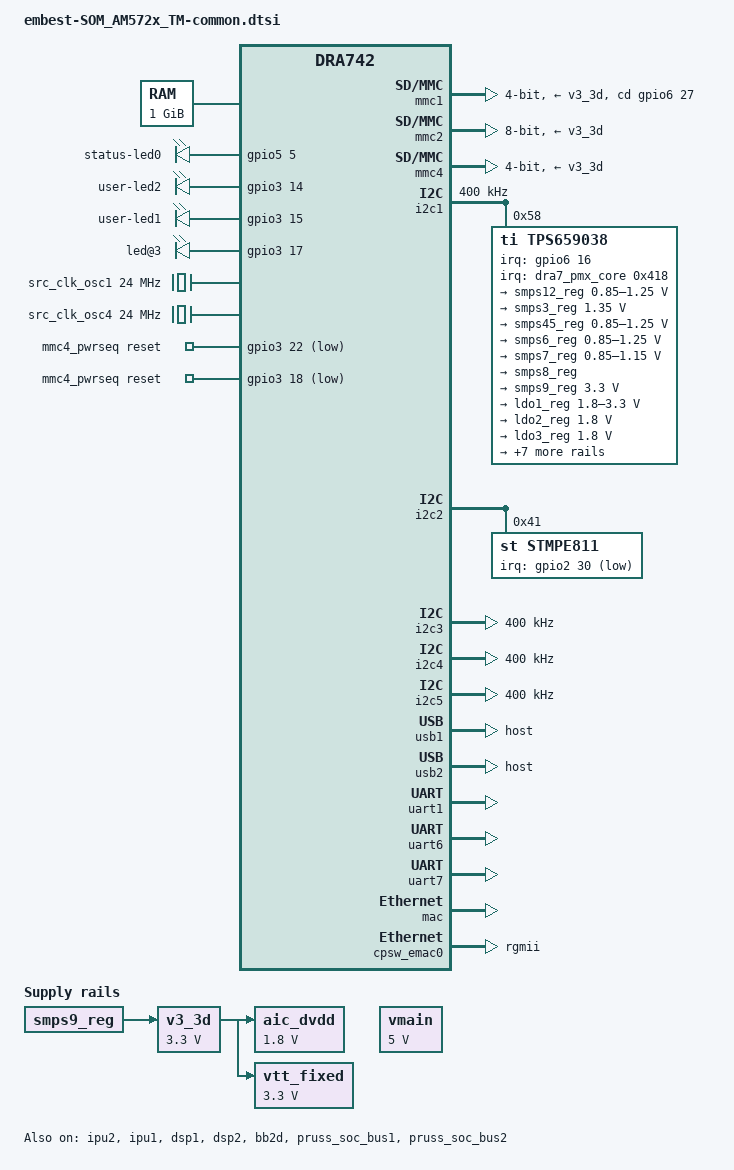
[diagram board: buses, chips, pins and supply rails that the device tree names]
/*
 * Copyright (C) 2017-2017 Embest - http://www.embest-tech.com/
 *
 * This program is free software; you can redistribute it and/or modify
 * it under the terms of the GNU General Public License version 2 as
 * published by the Free Software Foundation.
 */
/dts-v1/;

#include "dra74x.dtsi"
#include <dt-bindings/gpio/gpio.h>
#include <dt-bindings/interrupt-controller/irq.h>
#include "am57xx-industrial-grade.dtsi"

/ {
	compatible = "ti,am572x-beagle-x15", "ti,am5728", "ti,dra742", "ti,dra74", "ti,dra7";

	chosen {
		stdout-path = &uart1;
	};

	memory@0 {
		device_type = "memory";
		reg = <0x0 0x80000000 0x0 0x40000000>;		/*** Is size 2G? */
	};

       reserved-memory {
                #address-cells = <2>;
                #size-cells = <2>;
                ranges;

                ipu2_cma_pool: ipu2_cma@95800000 {
                        compatible = "shared-dma-pool";
                        reg = <0x0 0x95800000 0x0 0x3800000>;
                        reusable;
                        status = "okay";
                };

                dsp1_cma_pool: dsp1_cma@99000000 {
                        compatible = "shared-dma-pool";
                        reg = <0x0 0x99000000 0x0 0x4000000>;
                        reusable;
                        status = "okay";
                };

                ipu1_cma_pool: ipu1_cma@9d000000 {
                        compatible = "shared-dma-pool";
                        reg = <0x0 0x9d000000 0x0 0x2000000>;
                        reusable;
                        status = "okay";
                };

                dsp2_cma_pool: dsp2_cma@9f000000 {
                        compatible = "shared-dma-pool";
                        reg = <0x0 0x9f000000 0x0 0x800000>;
                        reusable;
                        status = "okay";
                };

                cmem_block_mem_0: cmem_block_mem@a0000000 {
                        reg = <0x0 0xa0000000 0x0 0x0c000000>;
                        no-map;
                        status = "okay";
                };
               
               cmem_block_mem_1_ocmc3: cmem_block_mem@40500000 {
                        reg = <0x0 0x40500000 0x0 0x100000>;
                        no-map;
                        status = "okay";
                };
        };

	leds {
		pinctrl-names = "default";
		pinctrl-0 = <&leds_pins_default>;
		compatible = "gpio-leds";
		led@0 {
			label = "status-led0";
			gpios = <&gpio5 5 GPIO_ACTIVE_HIGH>;
			linux,default-trigger = "heartbeat";
			default-state = "off";
		};

		led@1 {
			label = "user-led2";
			gpios = <&gpio3 14 GPIO_ACTIVE_HIGH>;
			default-state = "off";
		};

		led@2 {
			label = "user-led1";
			gpios = <&gpio3 15 GPIO_ACTIVE_HIGH>;
			default-state = "off";
		};

		led@3 {
			lable = "user-led0";
			gpios = <&gpio3 17 GPIO_ACTIVE_HIGH>;
			default-state = "off";	
		};
 	};

	vmain: fixedregulator-vmain {
		compatible = "regulator-fixed";
		regulator-name = "VMAIN";
		regulator-min-microvolt = <5000000>;
		regulator-max-microvolt = <5000000>;
		regulator-always-on;
		regulator-boot-on;
	};

	v3_3d: fixedregulator-v3_3d {
		compatible = "regulator-fixed";
		regulator-name = "V3_3D";
		vin-supply = <&smps9_reg>;
		regulator-min-microvolt = <3300000>;
		regulator-max-microvolt = <3300000>;
		regulator-always-on;
		regulator-boot-on;
	};

	aic_dvdd: fixedregulator-aic_dvdd {
		compatible = "regulator-fixed";
		regulator-name = "aic_dvdd_fixed";
		vin-supply = <&v3_3d>;
		regulator-min-microvolt = <1800000>;
		regulator-max-microvolt = <1800000>;
		regulator-always-on;
                regulator-boot-on;

	};

	vtt_fixed: fixedregulator-vtt {
		/* TPS51200 */
		compatible = "regulator-fixed";
		regulator-name = "vtt_fixed";
		vin-supply = <&v3_3d>;
		regulator-min-microvolt = <3300000>;
		regulator-max-microvolt = <3300000>;
		regulator-always-on;
		regulator-boot-on;
	};

	src_clk_x1: src_clk_x1 {
		#clock-cells = <0>;
		compatible = "fixed-clock";
		clock-frequency = <20000000>;
	};

	src_clk_osc1: src_clk_osc1 {
        	#clock-cells = <0>;
        	compatible = "fixed-clock";
        	clock-frequency = <24000000>;
    	};
    
	src_clk_osc4: src_clk_osc4 {
        	#clock-cells = <0>;
        	compatible = "fixed-clock";
        	clock-frequency = <24000000>;
    	};

	mmc4_pwrseq: mmc4_pwrseq {
		compatible = "mmc-pwrseq-simple";
		pinctrl-names = "default";
		pinctrl-0 = <&mmc4_pwrseq_pins_default>;		
		reset-gpios = <&gpio3 22 GPIO_ACTIVE_LOW>,     // BT-REG-ON
				<&gpio3 18 GPIO_ACTIVE_LOW>;   // WL-REG-ON
	};

};

&cpu0 {
	vdd-supply = <&smps12_reg>;
};

&mmc1 {
	status = "okay";
	vmmc-supply = <&v3_3d>;
	vmmc_aux-supply = <&ldo1_reg>;
	bus-width = <4>;
	cd-gpios = <&gpio6 27 0>; /* gpio 219 */

	pinctrl-names = "default", "hs", "sdr12", "sdr25", "sdr50", "ddr50", "sdr104";
	pinctrl-0 = <&mmc1_pins_default>;
	pinctrl-1 = <&mmc1_pins_hs>;
	pinctrl-2 = <&mmc1_pins_sdr12>;
	pinctrl-3 = <&mmc1_pins_sdr25>;
	pinctrl-4 = <&mmc1_pins_sdr50>;
	pinctrl-5 = <&mmc1_pins_ddr50 &mmc1_iodelay_ddr50_conf>;
	pinctrl-6 = <&mmc1_pins_sdr104 &mmc1_iodelay_sdr104_conf>;
	max-frequency = <24000000>;
};

&mmc2 {
	status = "okay";
	vmmc-supply = <&v3_3d>;
	bus-width = <8>;
	ti,non-removable;
	max-frequency = <96000000>;
	no-1-8-v;
	/delete-property/ mmc-hs200-1_8v;

	pinctrl-names = "default", "hs", "ddr_1_8v";
	pinctrl-0 = <&mmc2_pins_default>;
	pinctrl-1 = <&mmc2_pins_hs>;
	pinctrl-2 = <&mmc2_pins_ddr_1_8v &mmc2_iodelay_ddr_1_8v_conf>;
};

&mmc4 {
	status = "okay";
	bus-width = <4>;
	vmmc-supply = <&v3_3d>;
	cap-power-off-card;
	keep-power-in-suspend;
	ti,non-removable;	
	//vmmc_aux-supply = <&ldo1_reg>;
	max-frequency = <24000000>;
	pinctrl-names = "default", "hs", "sdr12", "sdr25", "sdr50";
	pinctrl-0 = <&mmc4_pins_default>;
	pinctrl-1 = <&mmc4_pins_hs>;
	pinctrl-2 = <&mmc4_pins_sdr12>;
	pinctrl-3 = <&mmc4_pins_sdr25>;
	pinctrl-4 = <&mmc4_pins_sdr50>;
	#address-cells = <1>;
	#size-cells = <0>;
	mmc-pwrseq = <&mmc4_pwrseq>;
};

&ipu2 {
        status = "okay";
        memory-region = <&ipu2_cma_pool>;
        mboxes = <&mailbox6 &mbox_ipu2_ipc3x>;
        timers = <&timer3>;
        watchdog-timers = <&timer4>,<&timer9>;
};

&ipu1 {
        status = "okay";
        memory-region = <&ipu1_cma_pool>;
        mboxes = <&mailbox5 &mbox_ipu1_ipc3x>;
        timers = <&timer11>;
        watchdog-timers = <&timer7>,<&timer8>;
};

&dsp1 {
        status = "okay";
        memory-region = <&dsp1_cma_pool>;
        mboxes = <&mailbox5 &mbox_dsp1_ipc3x>;
        timers = <&timer5>;
        watchdog-timers = <&timer10>;
};

&dsp2 {
        status = "okay";
        memory-region = <&dsp2_cma_pool>;
        mboxes = <&mailbox6 &mbox_dsp2_ipc3x>;
        timers = <&timer6>;
        watchdog-timers = <&timer13>;
};

&mailbox5 {
        status = "okay";
        mbox_ipu1_ipc3x: mbox_ipu1_ipc3x {
                status = "okay";
        };
        mbox_dsp1_ipc3x: mbox_dsp1_ipc3x {
                status = "okay";
        };
};

&mailbox6 {
        status = "okay";
        mbox_ipu2_ipc3x: mbox_ipu2_ipc3x {
                status = "okay";
        };
        mbox_dsp2_ipc3x: mbox_dsp2_ipc3x {
                status = "okay";
        };
};

&mmu0_dsp1 {
        status = "okay";
};

&mmu1_dsp1 {
        status = "okay";
};

&mmu0_dsp2 {
        status = "okay";
};

&mmu1_dsp2 {
        status = "okay";
};

&mmu_ipu1 {
        status = "okay";
};

&mmu_ipu2 {
        status = "okay";
};

&i2c1 {
	status = "okay";
	clock-frequency = <400000>;

	tps659038: tps659038@58 {
		compatible = "ti,tps659038";
		reg = <0x58>;
		interrupts-extended = <&gpio6 16 IRQ_TYPE_LEVEL_HIGH
			       &dra7_pmx_core 0x418>;
		#interrupt-cells = <2>;
		interrupt-controller;
		ti,system-power-controller;
		ti,palmas-override-powerhold;

		tps659038_pmic {
			compatible = "ti,tps659038-pmic";

			smps12-in-supply = <&vmain>;
			smps3-in-supply = <&vmain>;
			smps45-in-supply = <&vmain>;
			smps6-in-supply = <&vmain>;
			smps7-in-supply = <&vmain>;
			mps3-in-supply = <&vmain>;
			smps8-in-supply = <&vmain>;
			smps9-in-supply = <&vmain>;
			ldo1-in-supply = <&vmain>;
			ldo2-in-supply = <&vmain>;
			ldo3-in-supply = <&vmain>;
			ldo4-in-supply = <&vmain>;
			ldo9-in-supply = <&vmain>;
			ldoln-in-supply = <&vmain>;
			ldousb-in-supply = <&vmain>;
			ldortc-in-supply = <&vmain>;

			regulators {
				smps12_reg: smps12 {
					/* VDD_MPU */
					regulator-name = "smps12";
					regulator-min-microvolt = <850000>;
					regulator-max-microvolt = <1250000>;
					regulator-always-on;
					regulator-boot-on;
				};

				smps3_reg: smps3 {
					/* VDD_DDR EMIF1 EMIF2 */
					regulator-name = "smps3";
					regulator-min-microvolt = <1350000>;
					regulator-max-microvolt = <1350000>;
					regulator-always-on;
					regulator-boot-on;
				};

				smps45_reg: smps45 {
					/* VDD_DSPEVE on AM572 */
					/* VDD_IVA + VDD_DSP on AM571 */
					regulator-name = "smps45";
					regulator-min-microvolt = <850000>;
					regulator-max-microvolt = <1250000>;
					regulator-always-on;
					regulator-boot-on;
				};

				smps6_reg: smps6 {
					/* VDD_GPU */
					regulator-name = "smps6";
					regulator-min-microvolt = <850000>;
					regulator-max-microvolt = <1250000>;
					regulator-always-on;
					regulator-boot-on;
				};

				smps7_reg: smps7 {
					/* VDD_CORE */
					regulator-name = "smps7";
					regulator-min-microvolt = <850000>;	/*** 1.15V */
					regulator-max-microvolt = <1150000>;
					regulator-always-on;
					regulator-boot-on;
				};

				smps8_reg: smps8 {
					/* 5728 - VDD_IVAHD */			/*** 1.06V */
					/* 5718 - N.C. test point */
					regulator-name = "smps8";
				};

				smps9_reg: smps9 {
					/* VDD_3_3D */
					regulator-name = "smps9";
					regulator-min-microvolt = <3300000>;
					regulator-max-microvolt = <3300000>;
					regulator-always-on;
					regulator-boot-on;
				};

				ldo1_reg: ldo1 {
					/* VDDSHV8 - VSDMMC  */
					/* NOTE: on rev 1.3a, data supply */
					regulator-name = "ldo1";
					regulator-min-microvolt = <1800000>;
					regulator-max-microvolt = <3300000>;
					regulator-boot-on;
					regulator-always-on;
				};

				ldo2_reg: ldo2 {
					/* VDDSH18V */
					regulator-name = "ldo2";
					regulator-min-microvolt = <1800000>;
					regulator-max-microvolt = <1800000>;
					regulator-always-on;
					regulator-boot-on;
				};

				ldo3_reg: ldo3 {
					/* R1.3a 572x V1_8PHY_LDO3: USB, SATA */
					regulator-name = "ldo3";
					regulator-min-microvolt = <1800000>;
					regulator-max-microvolt = <1800000>;
					regulator-always-on;
					regulator-boot-on;
				};

				ldo4_reg: ldo4 {
					/* R1.3a 572x V1_8PHY_LDO4: PCIE, HDMI*/
					regulator-name = "ldo4";
					regulator-min-microvolt = <1800000>;
					regulator-max-microvolt = <1800000>;
					regulator-always-on;
					regulator-boot-on;
				};

				/* LDO5-8 unused */

				ldo9_reg: ldo9 {
					/* VDD_RTC  */
					regulator-name = "ldo9";
					regulator-min-microvolt = <840000>;
					regulator-max-microvolt = <1160000>;
					regulator-always-on;
					regulator-boot-on;
				};

				ldoln_reg: ldoln {
					/* VDDA_1V8_PLL */
					regulator-name = "ldoln";
					regulator-min-microvolt = <1800000>;
					regulator-max-microvolt = <1800000>;
					regulator-always-on;
					regulator-boot-on;
				};

				ldousb_reg: ldousb {
					/* VDDA_3V_USB: VDDA_USBHS33 */
					regulator-name = "ldousb";
					regulator-min-microvolt = <3300000>;
					regulator-max-microvolt = <3300000>;
					regulator-always-on;
					regulator-boot-on;
				};

				ldortc_reg: ldortc {
					/* VDDA_RTC  */
					regulator-name = "ldortc";
					regulator-min-microvolt = <1800000>;
					regulator-max-microvolt = <1800000>;
					regulator-always-on;
					regulator-boot-on;
				};

				regen1: regen1 {
					/* VDD_3V3_ON */
					regulator-name = "regen1";
					regulator-boot-on;
					regulator-always-on;
				};

				regen2: regen2 {
					/* Needed for PMIC internal resource */
					regulator-name = "regen2";
					regulator-boot-on;
					regulator-always-on;
				};
			};
		};
/*** need to modify in i2c1 */
		tps659038_rtc: tps659038_rtc {
			compatible = "ti,palmas-rtc";
			interrupt-parent = <&tps659038>;
			interrupts = <8 IRQ_TYPE_EDGE_FALLING>;
			wakeup-source;
		};

		tps659038_pwr_button: tps659038_pwr_button {
			compatible = "ti,palmas-pwrbutton";
			interrupt-parent = <&tps659038>;
			interrupts = <1 IRQ_TYPE_EDGE_FALLING>;
			wakeup-source;
			ti,palmas-long-press-seconds = <12>;
		};

		tps659038_gpio: tps659038_gpio {
			compatible = "ti,palmas-gpio";
			gpio-controller;
			#gpio-cells = <2>;
		};

		extcon_usb2: tps659038_usb {
			compatible = "ti,palmas-usb-vid";
			ti,enable-vbus-detection;
			ti,enable-id-detection;
			/* ID & VBUS GPIOs provided in board dts */
		};
	};

	tc358778: tc358778@0e {
		compatible = "toshiba,tc358778", "toshiba,tc358768";
		reg = <0x0e>;
		status = "disabled";

		clocks = <&src_clk_x1>;
		clock-names = "refclk";

		ports {
			#address-cells = <1>;
			#size-cells = <0>;

			port@0 {
				reg = <0>;
				tc358778_in: endpoint {
				/*	remote-endpoint = <&dpi_out>;
					data-lines = <24>; */
				};
			};

			port@1 {
				reg = <1>;
				tc358778_out: endpoint {
					/*
					 * lanes and remote-endpoint defined per
					 * panel.
					 */
				};
			};
		};
	};
};

&i2c2 {
	status = "okay";
	clcok-frequency = <40000>;
	pinctl-names = "default";
	pinctl-0 = <&i2c2_pins>;

	stmpe811@41 {
                compatible = "st,stmpe811";
                reg = <0x41>;
		pinctrl-names = "default";
		pinctrl-0 = <&stmpe_pins>;
//		interrupts = <30 IRQ_TYPE_LEVEL_LOW>;
//		interrupt-parent = <&gpio2>;
//		interrupt-controller;
		irq-gpio = <&gpio2 30 0x3>;
        };

};

&i2c3 {
	/*** designed for I2C touch Interface*/
	status = "okay";
	clock-frequency = <400000>;
	pinctrl-names = "default";
	pinctrl-0 = <&i2c3_pins>;
};

&i2c4 {
	status = "okay";
	clock-frequency = <400000>;
	pinctrl-names = "default";
	pinctrl-0 = <&i2c4_pins>;
};


&i2c5 {
	status = "okay";
	clock-frequency = <400000>;
	pinctrl-names = "default";
	pinctrl-0 = <&i2c5_pins>;

};

&usb2_phy1 {
	phy-supply = <&ldousb_reg>;
};

&usb2_phy2 {
	phy-supply = <&ldousb_reg>;
};

&usb1 {
	dr_mode = "host";
};

&usb2 {
	/*
	 * Stand alone usage is peripheral only.
	 * However, with some resistor modifications
	 * this port can be used via expansion connectors
	 * as "host" or "dual-role". If so, provide
	 * the necessary dr_mode override in the expansion
	 * board's DT.
	 */
	dr_mode = "host";
};

&uart1 {
	status = "okay";
	pinctrl-names = "default";
	pinctrl-0 = <&uart1_pins>;
};

&uart6 {/* for WIFI-BT */
        pinctrl-names = "default";
        pinctrl-0 = <&uart6_pins>;
        status = "okay";
};

&uart7 {/* for WIFI-BT */
	pinctrl-names = "default";
	pinctrl-0 = <&uart7_pins>;
	status = "okay";
};

&mac {
	status = "okay";
//	dual_emac;
};

&cpsw_emac0 {
	phy_id = <&davinci_mdio>, <4>;
	phy-mode = "rgmii";
//	dual_emac_res_vlan = <1>;
};

//&cpsw_emac1 {
//	phy_id = <&davinci_mdio>, <6>;
//	phy-mode = "rgmii";
//	dual_emac_res_vlan = <2>;
//};

&bb2d {
	status = "okay";
};

&mailbox3 {
	status = "okay";
	mbox_pru1_0: mbox_pru1_0 {
		status = "okay";
	};
	mbox_pru1_1: mbox_pru1_1 {
		status = "okay";
	};
};

&mailbox4 {
	status = "okay";
	mbox_pru2_0: mbox_pru2_0 {
		status = "okay";
	};
	mbox_pru2_1: mbox_pru2_1 {
		status = "okay";
	};
};

&pruss_soc_bus1 {
	status = "okay";

	pruss1: pruss@4b200000 {
		status = "okay";

		pru1_0: pru@4b234000 {
			interrupt-parent = <&pruss1_intc>;
			interrupts = <16>, <17>;
			interrupt-names = "vring", "kick";
			status = "okay";
		};

		pru1_1: pru@4b238000 {
			interrupt-parent = <&pruss1_intc>;
			interrupts = <18>, <19>;
			interrupt-names = "vring", "kick";
			status = "okay";
		};
	};
};

&pruss_soc_bus2 {
	status = "okay";

	pruss2: pruss@4b280000 {
		status = "okay";

		pru2_0: pru@4b2b4000 {
			interrupt-parent = <&pruss2_intc>;
			interrupts = <16>, <17>;
			interrupt-names = "vring", "kick";
			status = "okay";
		};

		pru2_1: pru@4b2b8000 {
			interrupt-parent = <&pruss2_intc>;
			interrupts = <18>, <19>;
			interrupt-names = "vring", "kick";
			status = "okay";
		};
	};
};

&dra7_pmx_core {
	
	stmpe_pins: stmpe_pins {
		pinctrl-single,pins = <	
			DRA7XX_CORE_IOPAD(0x34dc, (PIN_INPUT | MUX_MODE14)) /* vin1a.clk0_gpio2_30 (AG8) */
		>;
	};

	ehrpwm2_pins: ehrpwm2_pins {
		pinctrl-single,pins = <
			DRA7XX_CORE_IOPAD(0x37a0, (PIN_OUTPUT | MUX_MODE10)) /* mmc3_dat7.eCAP3_in_PWM3_out (AB5) */
		>;
	};

//	spi3_pins_default: spi3_pins_default {
//		pinctrl-single,pins = <
//			DRA7XX_CORE_IOPAD(0x3740, (PIN_OUTPUT_PULLUP | MUX_MODE2)) /* mcasp4_axr1.spi3_cs0 */
//			DRA7XX_CORE_IOPAD(0x3734, (PIN_OUTPUT_PULLUP | MUX_MODE2)) /* mcasp4_aclkx.spi3_sclk */
//			DRA7XX_CORE_IOPAD(0x373c, (PIN_OUTPUT_PULLUP | MUX_MODE2)) /* mcasp4_axr0.spi3_d0 */
//			DRA7XX_CORE_IOPAD(0x3738, (PIN_INPUT_PULLUP | MUX_MODE2)) /* mcasp4_fsx.spi3_d1 */
//		>;
//	};

	leds_pins_default: leds_pins_default {
		pinctrl-single,pins = <
			DRA7XX_CORE_IOPAD(0x36c0, (PIN_OUTPUT | MUX_MODE14)) /* mcasp1_axr3.gpio5_5 */
			DRA7XX_CORE_IOPAD(0x351c, (PIN_OUTPUT | MUX_MODE14)) /* vin1a_d10.gpio3_14 */
			DRA7XX_CORE_IOPAD(0x3520, (PIN_OUTPUT | MUX_MODE14)) /* vin1a_d12.gpio3_15 */
			DRA7XX_CORE_IOPAD(0x3528, (PIN_OUTPUT | MUX_MODE14)) /* vin1a_d13.gpio3_17 */			
			/* VDD_ADC_SEL */
			DRA7XX_CORE_IOPAD(0x3550, (PIN_OUTPUT | MUX_MODE14)) /* vin1a_d23.gpio3_27 */

			/* P8 */
			DRA7XX_CORE_IOPAD(0x379c, (PIN_INPUT | MUX_MODE14)) /* mmc3_dat6.gpio1_24 AB8 0x179c*/
			DRA7XX_CORE_IOPAD(0x37a0, (PIN_INPUT | MUX_MODE14)) /* mmc3_dat7.gpio1_25 AB5 0x17a0*/
			DRA7XX_CORE_IOPAD(0x378c, (PIN_INPUT | MUX_MODE14)) /* mmc3_dat2.gpio7_1 AC9 0x178c*/
			DRA7XX_CORE_IOPAD(0x3790, (PIN_INPUT | MUX_MODE14)) /* mmc3_dat3.gpio7_2 AC3 0x1790*/
			DRA7XX_CORE_IOPAD(0x36ec, (PIN_INPUT | MUX_MODE14)) /* mcasp1_axr14.gpio6_5 G14 0x16ec*/
			DRA7XX_CORE_IOPAD(0x36f0, (PIN_INPUT | MUX_MODE14)) /* mcasp1_axr15.gpio6_6 F14 0x16f0*/
			DRA7XX_CORE_IOPAD(0x3698, (PIN_INPUT | MUX_MODE14)) /* xref_clk1.gpio6_18 E17 0x1698*/
			DRA7XX_CORE_IOPAD(0x36e8, (PIN_INPUT | MUX_MODE14)) /* mcasp1_axr13.gpio6_4 A13 0x16e8*/
			DRA7XX_CORE_IOPAD(0x3510, (PIN_INPUT | MUX_MODE14)) /* vin1a_d7.gpio3_11 AH4 0x1510*/
			DRA7XX_CORE_IOPAD(0x350c, (PIN_INPUT | MUX_MODE14)) /* vin1a_d6.gpio3_10 AG6 0x150c*/
			DRA7XX_CORE_IOPAD(0x3590, (PIN_INPUT | MUX_MODE14)) /* vin2a_d10.gpio4_11 D3 0x1590*/
			DRA7XX_CORE_IOPAD(0x3598, (PIN_INPUT | MUX_MODE14)) /* vin2a_d12.gpio4_13 D5 0x1598*/
			DRA7XX_CORE_IOPAD(0x3624, (PIN_INPUT | MUX_MODE14)) /* vout1_d18.gpio8_18 A7 0x1624*/
			DRA7XX_CORE_IOPAD(0x35bc, (PIN_INPUT | MUX_MODE14)) /* vin2a_d21.gpio4_29 B4 0x15bc*/
			DRA7XX_CORE_IOPAD(0x3588, (PIN_INPUT | MUX_MODE14)) /* vin2a_d8.gpio4_9 F5 0x1588*/
			DRA7XX_CORE_IOPAD(0x358c, (PIN_INPUT | MUX_MODE14)) /* vin2a_d9.gpio4_10 E6 0x158c*/
			DRA7XX_CORE_IOPAD(0x3780, (PIN_INPUT | MUX_MODE14)) /* mmc3_cmd.gpio6_30 AC4 0x1780*/
			DRA7XX_CORE_IOPAD(0x377c, (PIN_INPUT | MUX_MODE14)) /* mmc3_clk.gpio6_29 AD4 0x177c*/
			DRA7XX_CORE_IOPAD(0x3798, (PIN_INPUT | MUX_MODE14)) /* mmc3_dat5.gpio1_23 AD6 0x1798*/
			DRA7XX_CORE_IOPAD(0x3794, (PIN_INPUT | MUX_MODE14)) /* mmc3_dat4.gpio1_22 AC8 0x1794*/
			DRA7XX_CORE_IOPAD(0x3788, (PIN_INPUT | MUX_MODE14)) /* mmc3_dat1.gpio7_0 AC6 0x1788*/
			DRA7XX_CORE_IOPAD(0x3784, (PIN_INPUT | MUX_MODE14)) /* mmc3_dat0.gpio6_31 AC7 0x1784*/
			DRA7XX_CORE_IOPAD(0x35b8, (PIN_INPUT | MUX_MODE14)) /* vin2a_d20.gpio4_28 B3 0x15b8*/
			DRA7XX_CORE_IOPAD(0x35f4, (PIN_INPUT | MUX_MODE14)) /* vout1_d6.gpio8_6 F8 0x15f4*/
			DRA7XX_CORE_IOPAD(0x35f8, (PIN_INPUT | MUX_MODE14)) /* vout1_d7.gpio8_7 E7 0x15f8*/
			DRA7XX_CORE_IOPAD(0x35ec, (PIN_INPUT | MUX_MODE14)) /* vout1_d4.gpio8_4 E9 0x15ec*/
			DRA7XX_CORE_IOPAD(0x35f0, (PIN_INPUT | MUX_MODE14)) /* vout1_d5.gpio8_5 F9 0x15f0*/
			DRA7XX_CORE_IOPAD(0x35e4, (PIN_INPUT | MUX_MODE14)) /* vout1_d2.gpio8_2 F10 0x15e4*/
			DRA7XX_CORE_IOPAD(0x35e8, (PIN_INPUT | MUX_MODE14)) /* vout1_d2.gpio8_3 G11 0x15e8*/
			
			/* P9  */
			DRA7XX_CORE_IOPAD(0x36ac, (PIN_INPUT | MUX_MODE14)) /* mcasp1_aclkr.gpio5_0 B14 0x16ac*/
			DRA7XX_CORE_IOPAD(0x37bc, (PIN_INPUT | MUX_MODE14)) /* spi1_cs3.gpio7_13 B20 0x17bc*/
			DRA7XX_CORE_IOPAD(0x35ac, (PIN_INPUT | MUX_MODE14)) /* vin2a_d17.gpio4_25 D6 0x15ac*/
			DRA7XX_CORE_IOPAD(0x3514, (PIN_INPUT | MUX_MODE14)) /* vin1a_d8.gpio3_12 AG4 0x1514*/
			DRA7XX_CORE_IOPAD(0x35b0, (PIN_INPUT | MUX_MODE14)) /* vin2a_d18.gpio4_26 C5 0x15b0*/
			DRA7XX_CORE_IOPAD(0x37b4, (PIN_INPUT | MUX_MODE14)) /* spi1_cs1.gpio7_11 A22 0x17b4*/
			DRA7XX_CORE_IOPAD(0x368c, (PIN_INPUT | MUX_MODE14)) /* gpio6_15.gpio6_15 F20 0x168c*/
			DRA7XX_CORE_IOPAD(0x36e0, (PIN_INPUT | MUX_MODE14)) /* mcasp1_axr11.gpio4_17 A12 0x16e0*/
			DRA7XX_CORE_IOPAD(0x36dc, (PIN_INPUT | MUX_MODE14)) /* mcasp1_axr10.gpio5_12 B13 0x16dc*/
		>;
	};

	/* I2C2 pins */
        i2c2_pins: i2c2_pins {
                pinctrl-single,pins = <
                        DRA7XX_CORE_IOPAD(0x3808, (PIN_INPUT_PULLUP | MUX_MODE0)) /* i2c2_sda.i2c2_sda */
                        DRA7XX_CORE_IOPAD(0x380c, (PIN_INPUT_PULLUP | MUX_MODE0)) /* i2c2_scl.i2c2_scl */
                >;
        };


	/* I2C3 pins */
	i2c3_pins: i2c3_pins {
		pinctrl-single,pins = <
			DRA7XX_CORE_IOPAD(0x3778, (PIN_INPUT_PULLUP | MUX_MODE2)) /* gpio6_11.i2c3_scl */
			DRA7XX_CORE_IOPAD(0x3774, (PIN_INPUT_PULLUP | MUX_MODE2)) /* gpio6_10.i2c3_sda */
		>;
	};

	/* I2C4 pins */
	i2c4_pins: i2c4_pins {
		pinctrl-single,pins = <
			DRA7XX_CORE_IOPAD(0x36b0, (PIN_INPUT | MUX_MODE10)) /* mcasp1_fsr.i2c4_scl */
			DRA7XX_CORE_IOPAD(0x36ac, (PIN_INPUT | MUX_MODE10)) /* mcasp1_aclkr.i2c4_sda */
		>;
	};

	/* I2C5 pins */
	i2c5_pins: i2c5_pins {
		pinctrl-single,pins = <
			DRA7XX_CORE_IOPAD(0x3748, (PIN_INPUT | MUX_MODE4)) /* mcasp5_fsx.i2c5_scl */
			DRA7XX_CORE_IOPAD(0x3744, (PIN_INPUT | MUX_MODE4)) /* mcasp5_aclkx.i2c5_sda */
		>;
	};


	/* UART1 pins: rxd & txd */
	uart1_pins: uart1_pins {
		pinctrl-single,pins = <
			DRA7XX_CORE_IOPAD(0x37e0, (PIN_INPUT_PULLUP  | MUX_MODE0)) /* uart1_rxd.uart1_rxd */
			DRA7XX_CORE_IOPAD(0x37e4, (PIN_OUTPUT_PULLUP | MUX_MODE0)) /* uart1_txd.uart1_txd */
		>;
	};

	/* UART2 pins: rxd & txd */
	uart2_pins: uart2_pins {
		pinctrl-single,pins = <
			DRA7XX_CORE_IOPAD(0x37f0, (PIN_INPUT_PULLUP  | MUX_MODE4)) /* uart2_rxd.uart2_rxd */
			DRA7XX_CORE_IOPAD(0x37f4, (PIN_OUTPUT_PULLUP | MUX_MODE0)) /* uart2_txd.uart2_txd */
			DRA7XX_CORE_IOPAD(0x36a4, (PIN_OUTPUT_PULLDOWN | MUX_MODE14)) /* mcasp1_aclkx.gpio7_31 */
		>;
	};

	/* UART7 pins: rxd & txd */
	uart7_pins: uart7_pins {
		pinctrl-single,pins = <
			DRA7XX_CORE_IOPAD(0x3724, (PIN_INPUT  | MUX_MODE3)) /* mcasp3_aclkx.uart7_rxd */
			DRA7XX_CORE_IOPAD(0x3728, (PIN_OUTPUT | MUX_MODE3)) /* mcasp1_fsx.uart7_txd */
			DRA7XX_CORE_IOPAD(0x372C, (PIN_OUTPUT | MUX_MODE3)) /* mcasp3_axr0.uart7_ctsn B19 */
			DRA7XX_CORE_IOPAD(0x3730, (PIN_OUTPUT | MUX_MODE3)) /* mcasp3_axr1.uart7_rtsn C17 */
		>;
	};

	/* UART6 pins: rxd & txd */
        uart6_pins: uart6_pins {
                pinctrl-single,pins = <
                        DRA7XX_CORE_IOPAD(0x3450, (PIN_INPUT  | MUX_MODE3)) /* gpmc_a4.uart6_rxd */
                        DRA7XX_CORE_IOPAD(0x3454, (PIN_OUTPUT | MUX_MODE3)) /* gpmc_a5.uart6_txd */
        //                DRA7XX_CORE_IOPAD(0x3458, (PIN_OUTPUT | MUX_MODE3)) /* gpmc_a6.uart6_ctsn */
         //               DRA7XX_CORE_IOPAD(0x345c, (PIN_OUTPUT | MUX_MODE3)) /* gpmc_a7.uart_rtsn */
                >;
        };


	/* UART9 pins: rxd & txd */
//	uart9_pins: uart9_pins {
//		pinctrl-single,pins = <
//			DRA7XX_CORE_IOPAD(0x37e8, (PIN_INPUT  | MUX_MODE2)) /* uart1_ctsn.uart9_rxd */
//			DRA7XX_CORE_IOPAD(0x37ec, (PIN_OUTPUT | MUX_MODE2)) /* uart1_rtsn.uart9_txd */
//			DRA7XX_CORE_IOPAD(0x36d4, (PIN_OUTPUT_PULLDOWN | MUX_MODE14)) /* mcasp1_axr8 .gpio5_10 */
//		>;
//	};

	/* UART10 pins: rxd & txd */
//	uart10_pins: uart10_pins {
//	       pinctrl-single,pins = <
//		       DRA7XX_CORE_IOPAD(0x3794, (PIN_INPUT_PULLUP  | MUX_MODE2)) /* mmc3_data4.uart10_rxd */
//		       DRA7XX_CORE_IOPAD(0x3798, (PIN_OUTPUT_PULLUP | MUX_MODE2)) /* mmc3_data5.uart10_txd */
//	       >;
//	};

	mmc1_pins_default: mmc1_pins_default {
		pinctrl-single,pins = <
			0x354 (PIN_INPUT_PULLUP | MUX_MODE0) /* mmc1_clk.clk */
			0x358 (PIN_INPUT_PULLUP | MUX_MODE0) /* mmc1_cmd.cmd */
			0x35c (PIN_INPUT_PULLUP | MUX_MODE0) /* mmc1_dat0.dat0 */
			0x360 (PIN_INPUT_PULLUP | MUX_MODE0) /* mmc1_dat1.dat1 */
			0x364 (PIN_INPUT_PULLUP | MUX_MODE0) /* mmc1_dat2.dat2 */
			0x368 (PIN_INPUT_PULLUP | MUX_MODE0) /* mmc1_dat3.dat3 */
		>;
	};

	mmc1_pins_sdr12: pinmux_mmc1_sdr12_pins {
		pinctrl-single,pins = <
			0x354 (PIN_INPUT_PULLUP | MUX_MODE0)	/* mmc1_clk.clk */
			0x358 (PIN_INPUT_PULLUP | MUX_MODE0)	/* mmc1_cmd.cmd */
			0x35c (PIN_INPUT_PULLUP | MUX_MODE0)	/* mmc1_dat0.dat0 */
			0x360 (PIN_INPUT_PULLUP | MUX_MODE0)	/* mmc1_dat1.dat1 */
			0x364 (PIN_INPUT_PULLUP | MUX_MODE0)	/* mmc1_dat2.dat2 */
			0x368 (PIN_INPUT_PULLUP | MUX_MODE0)	/* mmc1_dat3.dat3 */
		>;
	};

	mmc1_pins_hs: mmc1_pins_hs {
		pinctrl-single,pins = <
			0x354 (PIN_INPUT_PULLUP | MUX_VIRTUAL_MODE11 | MUX_MODE0) /* mmc1_clk.clk */
			0x358 (PIN_INPUT_PULLUP | MUX_VIRTUAL_MODE11 | MUX_MODE0) /* mmc1_cmd.cmd */
			0x35c (PIN_INPUT_PULLUP | MUX_VIRTUAL_MODE11 | MUX_MODE0) /* mmc1_dat0.dat0 */
			0x360 (PIN_INPUT_PULLUP | MUX_VIRTUAL_MODE11 | MUX_MODE0) /* mmc1_dat1.dat1 */
			0x364 (PIN_INPUT_PULLUP | MUX_VIRTUAL_MODE11 | MUX_MODE0) /* mmc1_dat2.dat2 */
			0x368 (PIN_INPUT_PULLUP | MUX_VIRTUAL_MODE11 | MUX_MODE0) /* mmc1_dat3.dat3 */
		>;
	};

	mmc1_pins_sdr25: pinmux_mmc1_sdr25_pins {
		pinctrl-single,pins = <
			0x354 (PIN_INPUT_PULLUP | MUX_VIRTUAL_MODE11 | MUX_MODE0)	/* mmc1_clk.clk */
			0x358 (PIN_INPUT_PULLUP | MUX_VIRTUAL_MODE11 | MUX_MODE0)	/* mmc1_cmd.cmd */
			0x35c (PIN_INPUT_PULLUP | MUX_VIRTUAL_MODE11 | MUX_MODE0)	/* mmc1_dat0.dat0 */
			0x360 (PIN_INPUT_PULLUP | MUX_VIRTUAL_MODE11 | MUX_MODE0)	/* mmc1_dat1.dat1 */
			0x364 (PIN_INPUT_PULLUP | MUX_VIRTUAL_MODE11 | MUX_MODE0)	/* mmc1_dat2.dat2 */
			0x368 (PIN_INPUT_PULLUP | MUX_VIRTUAL_MODE11 | MUX_MODE0)	/* mmc1_dat3.dat3 */
		>;
	};

	mmc1_pins_sdr50: pinmux_mmc1_sdr50_pins {
		pinctrl-single,pins = <
			0x354 (PIN_INPUT_PULLUP | MUX_VIRTUAL_MODE10 | MUX_MODE0)	/* mmc1_clk.clk */
			0x358 (PIN_INPUT_PULLUP | MUX_VIRTUAL_MODE10 | MUX_MODE0)	/* mmc1_cmd.cmd */
			0x35c (PIN_INPUT_PULLUP | MUX_VIRTUAL_MODE10 | MUX_MODE0)	/* mmc1_dat0.dat0 */
			0x360 (PIN_INPUT_PULLUP | MUX_VIRTUAL_MODE10 | MUX_MODE0)	/* mmc1_dat1.dat1 */
			0x364 (PIN_INPUT_PULLUP | MUX_VIRTUAL_MODE10 | MUX_MODE0)	/* mmc1_dat2.dat2 */
			0x368 (PIN_INPUT_PULLUP | MUX_VIRTUAL_MODE10 | MUX_MODE0)	/* mmc1_dat3.dat3 */
		>;
	};

	mmc1_pins_ddr50: pinmux_mmc1_ddr50_pins {
		pinctrl-single,pins = <
			0x354 (PIN_INPUT_PULLUP | MODE_SELECT | MUX_MODE0)	/* mmc1_clk.clk */
			0x358 (PIN_INPUT_PULLUP | MODE_SELECT | MUX_MODE0)	/* mmc1_cmd.cmd */
			0x35c (PIN_INPUT_PULLUP | MODE_SELECT | MUX_MODE0)	/* mmc1_dat0.dat0 */
			0x360 (PIN_INPUT_PULLUP | MODE_SELECT | MUX_MODE0)	/* mmc1_dat1.dat1 */
			0x364 (PIN_INPUT_PULLUP | MODE_SELECT | MUX_MODE0)	/* mmc1_dat2.dat2 */
			0x368 (PIN_INPUT_PULLUP | MODE_SELECT | MUX_MODE0)	/* mmc1_dat3.dat3 */
		>;
	};

	mmc1_pins_sdr104: pinmux_mmc1_sdr104_pins {
		pinctrl-single,pins = <
			0x354 (PIN_INPUT_PULLUP | MODE_SELECT | MUX_MODE0)	/* mmc1_clk.clk */
			0x358 (PIN_INPUT_PULLUP | MODE_SELECT | MUX_MODE0)	/* mmc1_cmd.cmd */
			0x35c (PIN_INPUT_PULLUP | MODE_SELECT | MUX_MODE0)	/* mmc1_dat0.dat0 */
			0x360 (PIN_INPUT_PULLUP | MODE_SELECT | MUX_MODE0)	/* mmc1_dat1.dat1 */
			0x364 (PIN_INPUT_PULLUP | MODE_SELECT | MUX_MODE0)	/* mmc1_dat2.dat2 */
			0x368 (PIN_INPUT_PULLUP | MODE_SELECT | MUX_MODE0)	/* mmc1_dat3.dat3 */
		>;
	};

	mmc2_pins_default: mmc2_pins_default {
		pinctrl-single,pins = <
			0x9c (PIN_INPUT_PULLUP | MUX_MODE1) /* gpmc_a23.mmc2_clk */
			0xb0 (PIN_INPUT_PULLUP | MUX_MODE1) /* gpmc_cs1.mmc2_cmd */
			0xa0 (PIN_INPUT_PULLUP | MUX_MODE1) /* gpmc_a24.mmc2_dat0 */
			0xa4 (PIN_INPUT_PULLUP | MUX_MODE1) /* gpmc_a25.mmc2_dat1 */
			0xa8 (PIN_INPUT_PULLUP | MUX_MODE1) /* gpmc_a26.mmc2_dat2 */
			0xac (PIN_INPUT_PULLUP | MUX_MODE1) /* gpmc_a27.mmc2_dat3 */
			0x8c (PIN_INPUT_PULLUP | MUX_MODE1) /* gpmc_a19.mmc2_dat4 */
			0x90 (PIN_INPUT_PULLUP | MUX_MODE1) /* gpmc_a20.mmc2_dat5 */
			0x94 (PIN_INPUT_PULLUP | MUX_MODE1) /* gpmc_a21.mmc2_dat6 */
			0x98 (PIN_INPUT_PULLUP | MUX_MODE1) /* gpmc_a22.mmc2_dat7 */
		>;
	};

	mmc2_pins_hs: mmc2_pins_hs {
		pinctrl-single,pins = <
			0x9c (PIN_INPUT_PULLUP | MUX_MODE1) /* gpmc_a23.mmc2_clk */
			0xb0 (PIN_INPUT_PULLUP | MUX_MODE1) /* gpmc_cs1.mmc2_cmd */
			0xa0 (PIN_INPUT_PULLUP | MUX_MODE1) /* gpmc_a24.mmc2_dat0 */
			0xa4 (PIN_INPUT_PULLUP | MUX_MODE1) /* gpmc_a25.mmc2_dat1 */
			0xa8 (PIN_INPUT_PULLUP | MUX_MODE1) /* gpmc_a26.mmc2_dat2 */
			0xac (PIN_INPUT_PULLUP | MUX_MODE1) /* gpmc_a27.mmc2_dat3 */
			0x8c (PIN_INPUT_PULLUP | MUX_MODE1) /* gpmc_a19.mmc2_dat4 */
			0x90 (PIN_INPUT_PULLUP | MUX_MODE1) /* gpmc_a20.mmc2_dat5 */
			0x94 (PIN_INPUT_PULLUP | MUX_MODE1) /* gpmc_a21.mmc2_dat6 */
			0x98 (PIN_INPUT_PULLUP | MUX_MODE1) /* gpmc_a22.mmc2_dat7 */
		>;
	};

	mmc2_pins_ddr_1_8v: mmc2_pins_ddr_1_8v {
		pinctrl-single,pins = <
			0x9c (PIN_INPUT_PULLUP | MODE_SELECT | MUX_MODE1) /* gpmc_a23.mmc2_clk */
			0xb0 (PIN_INPUT_PULLUP | MODE_SELECT | MUX_MODE1) /* gpmc_cs1.mmc2_cmd */
			0xa0 (PIN_INPUT_PULLUP | MODE_SELECT | MUX_MODE1) /* gpmc_a24.mmc2_dat0 */
			0xa4 (PIN_INPUT_PULLUP | MODE_SELECT | MUX_MODE1) /* gpmc_a25.mmc2_dat1 */
			0xa8 (PIN_INPUT_PULLUP | MODE_SELECT | MUX_MODE1) /* gpmc_a26.mmc2_dat2 */
			0xac (PIN_INPUT_PULLUP | MODE_SELECT | MUX_MODE1) /* gpmc_a27.mmc2_dat3 */
			0x8c (PIN_INPUT_PULLUP | MODE_SELECT | MUX_MODE1) /* gpmc_a19.mmc2_dat4 */
			0x90 (PIN_INPUT_PULLUP | MODE_SELECT | MUX_MODE1) /* gpmc_a20.mmc2_dat5 */
			0x94 (PIN_INPUT_PULLUP | MODE_SELECT | MUX_MODE1) /* gpmc_a21.mmc2_dat6 */
			0x98 (PIN_INPUT_PULLUP | MODE_SELECT | MUX_MODE1) /* gpmc_a22.mmc2_dat7 */
		>;
	};

	mmc4_pins_default: mmc4_pins_default {
		pinctrl-single,pins = <
			0x3e8 (PIN_INPUT_PULLUP | MUX_MODE3) /* mmc4_clk.clk */
			0x3ec (PIN_INPUT_PULLUP | MUX_MODE3) /* mmc4_cmd.cmd */
			0x3f0 (PIN_INPUT_PULLUP | MUX_MODE3) /* mmc4_dat0.dat0 */
			0x3f4 (PIN_INPUT_PULLUP | MUX_MODE3) /* mmc4_dat1.dat1 */
			0x3f8 (PIN_INPUT_PULLUP | MUX_MODE3) /* mmc4_dat2.dat2 */
			0x3fc (PIN_INPUT_PULLUP | MUX_MODE3) /* mmc4_dat3.dat3 */
		>;
	};

	mmc4_pins_hs: mmc4_pins_hs {
		pinctrl-single,pins = <
			0x3e8 (PIN_INPUT_PULLUP | MUX_MODE3) /* mmc4_clk.clk */
			0x3ec (PIN_INPUT_PULLUP | MUX_MODE3) /* mmc4_cmd.cmd */
			0x3f0 (PIN_INPUT_PULLUP | MUX_MODE3) /* mmc4_dat0.dat0 */
			0x3f4 (PIN_INPUT_PULLUP | MUX_MODE3) /* mmc4_dat1.dat1 */
			0x3f8 (PIN_INPUT_PULLUP | MUX_MODE3) /* mmc4_dat2.dat2 */
			0x3fc (PIN_INPUT_PULLUP | MUX_MODE3) /* mmc4_dat3.dat3 */	
		>;
	};

	mmc4_pins_sdr12: pinmux_mmc4_sdr12_pins {
		pinctrl-single,pins = <
			0x3e8 (PIN_INPUT_PULLUP | MUX_MODE3)	/* mmc4_clk.clk */
			0x3ec (PIN_INPUT_PULLUP | MUX_MODE3)	/* mmc4_cmd.cmd */
			0x3f0 (PIN_INPUT_PULLUP | MUX_MODE3)	/* mmc4_dat0.dat0 */
			0x3f4 (PIN_INPUT_PULLUP | MUX_MODE3)	/* mmc4_dat1.dat1 */
			0x3f8 (PIN_INPUT_PULLUP | MUX_MODE3)	/* mmc4_dat2.dat2 */
			0x3fc (PIN_INPUT_PULLUP | MUX_MODE3)	/* mmc4_dat3.dat3 */
		>;
	};

	mmc4_pins_sdr25: pinmux_mmc4_sdr25_pins {
		pinctrl-single,pins = <
			0x3e8 (PIN_INPUT_PULLUP | MUX_MODE3)	/* mmc4_clk.clk */
			0x3ec (PIN_INPUT_PULLUP | MUX_MODE3)	/* mmc4_cmd.cmd */
			0x3f0 (PIN_INPUT_PULLUP | MUX_MODE3)	/* mmc4_dat0.dat0 */
			0x3f4 (PIN_INPUT_PULLUP | MUX_MODE3)	/* mmc4_dat1.dat1 */
			0x3f8 (PIN_INPUT_PULLUP | MUX_MODE3)	/* mmc4_dat2.dat2 */
			0x3fc (PIN_INPUT_PULLUP | MUX_MODE3)	/* mmc4_dat3.dat3 */
		>;
	};

	mmc4_pins_sdr50: pinmux_mmc4_sdr50_pins {
		pinctrl-single,pins = <
			0x3e8 (PIN_INPUT_PULLUP | MODE_SELECT | MUX_MODE3)	/* mmc4_clk.clk */
			0x3ec (PIN_INPUT_PULLUP | MODE_SELECT | MUX_MODE3)	/* mmc4_cmd.cmd */
			0x3f0 (PIN_INPUT_PULLUP | MODE_SELECT | MUX_MODE3)	/* mmc4_dat0.dat0 */
			0x3f4 (PIN_INPUT_PULLUP | MODE_SELECT | MUX_MODE3)	/* mmc4_dat1.dat1 */
			0x3f8 (PIN_INPUT_PULLUP | MODE_SELECT | MUX_MODE3)	/* mmc4_dat2.dat2 */
			0x3fc (PIN_INPUT_PULLUP | MODE_SELECT | MUX_MODE3)	/* mmc4_dat3.dat3 */
		>;
	};

	mmc4_pwrseq_pins_default:mmc4_pwrseq_pins_default{
		pinctrl-single,pins = <
			0x13c (PIN_OUTPUT_PULLUP | MUX_MODE14) /* vin1a_d18.gpio3_22 */
			0x12c (PIN_OUTPUT_PULLUP | MUX_MODE14) /* vin1a_d14.gpio3_18 */
		>;
	};
};

&dra7_iodelay_core {
	mmc1_iodelay_ddr50_conf: mmc1_iodelay_ddr50_conf {
		pinctrl-pin-array = <
			0x618 A_DELAY_PS(0) G_DELAY_PS(0)		/* CFG_MMC1_CLK_IN */
			0x624 A_DELAY_PS(0) G_DELAY_PS(0)		/* CFG_MMC1_CMD_IN */
			0x630 A_DELAY_PS(495) G_DELAY_PS(0)	/* CFG_MMC1_DAT0_IN */
			0x63C A_DELAY_PS(116) G_DELAY_PS(0)	/* CFG_MMC1_DAT1_IN */
			0x648 A_DELAY_PS(117) G_DELAY_PS(0)	/* CFG_MMC1_DAT2_IN */
			0x654 A_DELAY_PS(32) G_DELAY_PS(0)	/* CFG_MMC1_DAT3_IN */
			0x620 A_DELAY_PS(1224) G_DELAY_PS(0)	/* CFG_MMC1_CLK_OUT */
			0x62C A_DELAY_PS(0) G_DELAY_PS(0)		/* CFG_MMC1_CMD_OUT */
			0x638 A_DELAY_PS(44) G_DELAY_PS(0)	/* CFG_MMC1_DAT0_OUT */
			0x644 A_DELAY_PS(64) G_DELAY_PS(0)	/* CFG_MMC1_DAT1_OUT */
			0x650 A_DELAY_PS(79) G_DELAY_PS(0)	/* CFG_MMC1_DAT2_OUT */
			0x65C A_DELAY_PS(87) G_DELAY_PS(0)	/* CFG_MMC1_DAT3_OUT */
			0x628 A_DELAY_PS(0) G_DELAY_PS(0)		/* CFG_MMC1_CMD_OEN */
			0x634 A_DELAY_PS(0) G_DELAY_PS(0)		/* CFG_MMC1_DAT0_OEN */
			0x640 A_DELAY_PS(0) G_DELAY_PS(0)		/* CFG_MMC1_DAT1_OEN */
			0x64C A_DELAY_PS(0) G_DELAY_PS(0)		/* CFG_MMC1_DAT2_OEN */
			0x658 A_DELAY_PS(0) G_DELAY_PS(0)		/* CFG_MMC1_DAT3_OEN */
		>;
	};

	mmc1_iodelay_sdr104_conf: mmc1_iodelay_sdr104_conf {
		pinctrl-pin-array = <
			0x620 A_DELAY_PS(520) G_DELAY_PS(320)	/* CFG_MMC1_CLK_OUT */
			0x62c A_DELAY_PS(0) G_DELAY_PS(0)		/* CFG_MMC1_CMD_OUT */
			0x638 A_DELAY_PS(40) G_DELAY_PS(0)	/* CFG_MMC1_DAT0_OUT */
			0x644 A_DELAY_PS(83) G_DELAY_PS(0)	/* CFG_MMC1_DAT1_OUT */
			0x650 A_DELAY_PS(98) G_DELAY_PS(0)	/* CFG_MMC1_DAT2_OUT */
			0x65c A_DELAY_PS(106) G_DELAY_PS(0)	/* CFG_MMC1_DAT3_OUT */
			0x628 A_DELAY_PS(51) G_DELAY_PS(0)	/* CFG_MMC1_CMD_OEN */
			0x634 A_DELAY_PS(0) G_DELAY_PS(0)		/* CFG_MMC1_DAT0_OEN */
			0x640 A_DELAY_PS(363) G_DELAY_PS(0)	/* CFG_MMC1_DAT1_OEN */
			0x64c A_DELAY_PS(199) G_DELAY_PS(0)	/* CFG_MMC1_DAT2_OEN */
			0x658 A_DELAY_PS(273) G_DELAY_PS(0)	/* CFG_MMC1_DAT3_OEN */
		>;
	};

	mmc2_iodelay_ddr_1_8v_conf: mmc2_iodelay_ddr_1_8v_conf {
		pinctrl-pin-array = <
			0x18c A_DELAY_PS(0) G_DELAY_PS(0)		/* CFG_GPMC_A19_IN */
			0x1a4 A_DELAY_PS(121) G_DELAY_PS(0)	/* CFG_GPMC_A20_IN */
			0x1b0 A_DELAY_PS(0) G_DELAY_PS(0)		/* CFG_GPMC_A21_IN */
			0x1bc A_DELAY_PS(20) G_DELAY_PS(0)	/* CFG_GPMC_A22_IN */
			0x1c8 A_DELAY_PS(108) G_DELAY_PS(0)	/* CFG_GPMC_A23_IN */
			0x1d4 A_DELAY_PS(31) G_DELAY_PS(0)	/* CFG_GPMC_A24_IN */
			0x1e0 A_DELAY_PS(0) G_DELAY_PS(0)		/* CFG_GPMC_A25_IN */
			0x1ec A_DELAY_PS(24) G_DELAY_PS(0)	/* CFG_GPMC_A26_IN */
			0x1f8 A_DELAY_PS(0) G_DELAY_PS(0)		/* CFG_GPMC_A27_IN */
			0x360 A_DELAY_PS(0) G_DELAY_PS(0)		/* CFG_GPMC_CS1_IN */
			0x194 A_DELAY_PS(152) G_DELAY_PS(0)	/* CFG_GPMC_A19_OUT */
			0x1ac A_DELAY_PS(206) G_DELAY_PS(0)	/* CFG_GPMC_A20_OUT */
			0x1b8 A_DELAY_PS(78) G_DELAY_PS(0)	/* CFG_GPMC_A21_OUT */
			0x1c4 A_DELAY_PS(2) G_DELAY_PS(0)		/* CFG_GPMC_A22_OUT */
			0x1d0 A_DELAY_PS(266) G_DELAY_PS(0)	/* CFG_GPMC_A23_OUT */
			0x1dc A_DELAY_PS(0) G_DELAY_PS(0)		/* CFG_GPMC_A24_OUT */
			0x1e8 A_DELAY_PS(0) G_DELAY_PS(0)		/* CFG_GPMC_A25_OUT */
			0x1f4 A_DELAY_PS(43) G_DELAY_PS(0)	/* CFG_GPMC_A26_OUT */
			0x200 A_DELAY_PS(0) G_DELAY_PS(0)		/* CFG_GPMC_A27_OUT */
			0x368 A_DELAY_PS(0) G_DELAY_PS(0)		/* CFG_GPMC_CS1_OUT */
			0x190 A_DELAY_PS(0) G_DELAY_PS(0)		/* CFG_GPMC_A19_OEN */
			0x1a8 A_DELAY_PS(0) G_DELAY_PS(0)		/* CFG_GPMC_A20_OEN */
			0x1b4 A_DELAY_PS(0) G_DELAY_PS(0)		/* CFG_GPMC_A21_OEN */
			0x1c0 A_DELAY_PS(0) G_DELAY_PS(0)		/* CFG_GPMC_A22_OEN */
			0x1d8 A_DELAY_PS(0) G_DELAY_PS(0)		/* CFG_GPMC_A24_OEN */
			0x1e4 A_DELAY_PS(0) G_DELAY_PS(0)		/* CFG_GPMC_A25_OEN */
			0x1f0 A_DELAY_PS(0) G_DELAY_PS(0)		/* CFG_GPMC_A26_OEN */
			0x1fc A_DELAY_PS(0) G_DELAY_PS(0)		/* CFG_GPMC_A27_OEN */
			0x364 A_DELAY_PS(0) G_DELAY_PS(0)		/* CFG_GPMC_CS1_OEN */
		>;
	};
};

#include "am57xx-evm-cmem.dtsi"
